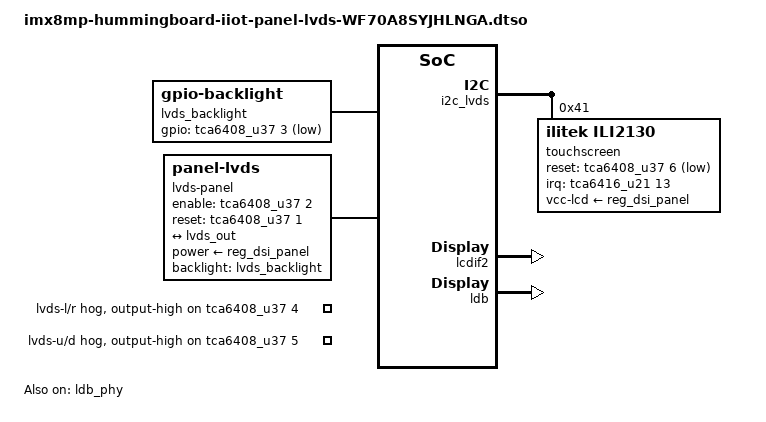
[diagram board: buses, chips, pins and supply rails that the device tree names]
// SPDX-License-Identifier: (GPL-2.0+ OR MIT)
/*
 * Copyright 2025 Josua Mayer <josua@solid-run.com>
 *
 * Overlay for enabling HummingBoard IIoT LVDS connector
 * with Winstar WF70A8SYJHLNGA panel.
 */

/dts-v1/;
/plugin/;

#include <dt-bindings/gpio/gpio.h>
#include <dt-bindings/interrupt-controller/irq.h>

&{/} {
	lvds_backlight: lvds-backlight {
		compatible = "gpio-backlight";
		gpios = <&tca6408_u37 3 GPIO_ACTIVE_LOW>;
	};

	lvds-panel {
		compatible = "panel-lvds";
		data-mapping = "vesa-24";
		width-mm = <154>;
		height-mm = <86>;
		backlight = <&lvds_backlight>;
		power-supply = <&reg_dsi_panel>;
		enable-gpios = <&tca6408_u37 2 GPIO_ACTIVE_HIGH>;
		reset-gpios = <&tca6408_u37 1 GPIO_ACTIVE_HIGH>;

		panel-timing {
			/*
			 * Note: NXP BSP hard-codes 74MHz clock in ldb driver:
			 * drivers/gpu/drm/imx/imx8mp-ldb.c
			 * SolidRun BSP carries patch.
			 */
			clock-frequency =   <49000000>;
			hactive = <1024>;
			vactive = <600>;
			hfront-porch = <40>;
			hback-porch = <144>;
			hsync-len = <104>;
			hsync-active = <0>;
			vfront-porch = <3>;
			vback-porch = <11>;
			vsync-len = <10>;
			vsync-active = <1>;
			de-active = <1>;
		};

		port {
			panel_from_lvds: endpoint {
				remote-endpoint = <&lvds_out>;
			};
		};
	};
};

&i2c_lvds {
	#address-cells = <1>;
	#size-cells = <0>;

	touchscreen@41 {
		reg = <0x41>;
		compatible = "ilitek,ili2130";
		reset-gpios = <&tca6408_u37 6 GPIO_ACTIVE_LOW>;
		interrupts-extended = <&tca6416_u21 13 IRQ_TYPE_LEVEL_LOW>;
		vcc-lcd-supply = <&reg_dsi_panel>;
	};
};

&lcdif2 {
	status = "okay";
};

&ldb {
	#address-cells = <1>;
	#size-cells = <0>;
	status = "okay";

	lvds-channel@0 {
		fsl,data-mapping = "spwg";
		fsl,data-width = <24>;
		#address-cells = <1>;
		#size-cells = <0>;
		status = "okay";

		port@1 {
			reg = <1>;

			lvds_out: endpoint {
				remote-endpoint = <&panel_from_lvds>;
			};
		};
	};
};

&ldb_phy {
        status = "okay";
};

&tca6408_u37 {
	lvds-lr-hog {
		gpio-hog;
		gpios = <4 GPIO_ACTIVE_HIGH>;
		output-high;
		line-name = "lvds-l/r";
	};

	lvds-ud-hog {
		gpio-hog;
		gpios = <5 GPIO_ACTIVE_HIGH>;
		output-high;
		line-name = "lvds-u/d";
	};
};
